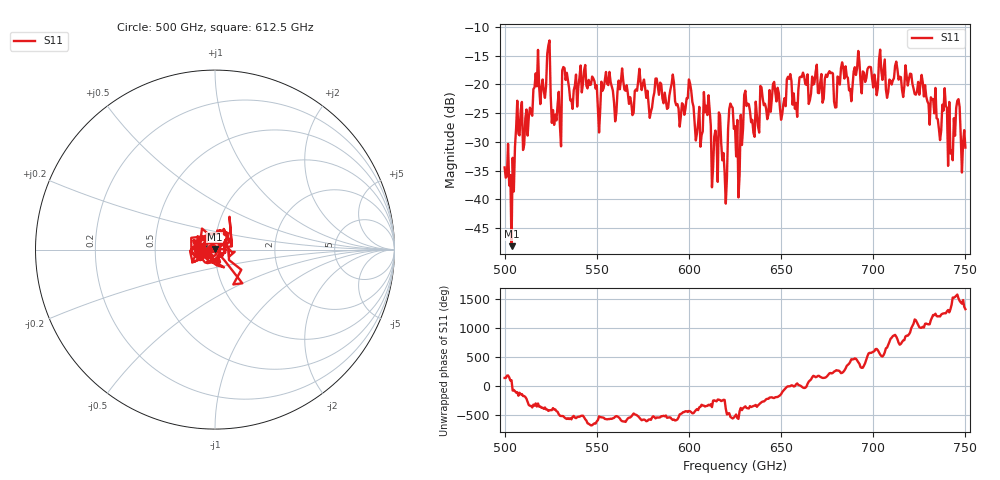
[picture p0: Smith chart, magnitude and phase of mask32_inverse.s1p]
!Created with skrf (http://scikit-rf.org).
# GHz S MA R 50.0
!freq magS11 angS11
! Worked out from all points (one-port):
!   401 points, 500 GHz to 750 GHz, reference 50 ohm
!   lowest |S11| = -48.1 dB at 503.8 GHz (marker M1), VSWR 1.01, Z = 49.9 + j0.375 ohm
!   |S11| at or under -10 dB: start of sweep to end of sweep
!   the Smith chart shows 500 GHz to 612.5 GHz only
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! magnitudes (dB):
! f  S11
! 500 GHz  -34.4
! 503.8 GHz  -48.1
! 507.5 GHz  -28.6
! 511.2 GHz  -25.9
! 516.9 GHz  -18.1
! 523.8 GHz  -13.2
! 526.9 GHz  -27.0
! 531.2 GHz  -17.5
! 562.5 GHz  -20.8
! 593.8 GHz  -23.4
! 600.6 GHz  -19.8
! 605 GHz  -26.7
! 609.4 GHz  -23.7
! 617.5 GHz  -30.1
! 619.4 GHz  -35.4
! 622.5 GHz  -23.3
! 625 GHz  -27.3
! 626.2 GHz  -26.2
! 631.2 GHz  -23.7
! 634.4 GHz  -26.2
! 656.2 GHz  -23.5
! 687.5 GHz  -20.8
! 718.8 GHz  -20.2
! 735.6 GHz  -27.7
! 738.8 GHz  -20.7
! 741.9 GHz  -32.0
! 746.2 GHz  -22.6
! 750 GHz  -31.0
